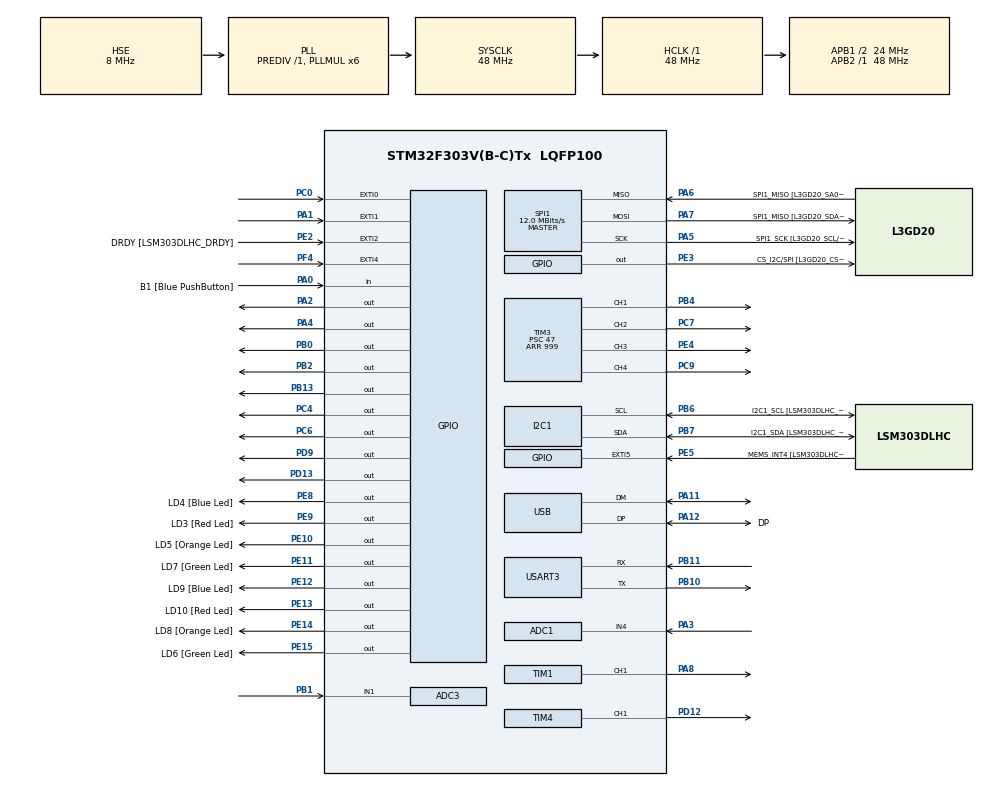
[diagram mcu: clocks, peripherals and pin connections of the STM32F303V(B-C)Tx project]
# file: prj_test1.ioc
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ADC1.Channel-0\#ChannelRegularConversion=ADC_CHANNEL_4
ADC1.NbrOfConversionFlag=1
ADC1.Offset-0\#ChannelRegularConversion=0
ADC1.OffsetNumber-0\#ChannelRegularConversion=ADC_OFFSET_NONE
ADC1.Rank-0\#ChannelRegularConversion=1
ADC1.SamplingTime-0\#ChannelRegularConversion=ADC_SAMPLETIME_601CYCLES_5
ADC1.SamplingTimeOPAMP-0\#ChannelRegularConversion=ADC_SAMPLETIME_19CYCLES_5
ADC1.master=1
ADC3.Channel-0\#ChannelRegularConversion=ADC_CHANNEL_1
ADC3.NbrOfConversionFlag=1
ADC3.Offset-0\#ChannelRegularConversion=0
ADC3.OffsetNumber-0\#ChannelRegularConversion=ADC_OFFSET_NONE
ADC3.Rank-0\#ChannelRegularConversion=1
ADC3.SamplingTime-0\#ChannelRegularConversion=ADC_SAMPLETIME_601CYCLES_5
ADC3.SamplingTimeOPAMP-0\#ChannelRegularConversion=ADC_SAMPLETIME_19CYCLES_5
ADC3.master=1
I2C1.Timing-I2C=0x2000090E
Mcu.Family=STM32F3
Mcu.Name=STM32F303V(B-C)Tx
Mcu.Package=LQFP100
NVIC.ADC1_2_IRQn=true\:1\:0\:true\:false\:true\:true\:true\:true
NVIC.ADC3_IRQn=true\:0\:0\:false\:false\:true\:true\:true\:true
NVIC.EXTI0_IRQn=true\:0\:0\:false\:false\:true\:true\:true\:true
NVIC.EXTI1_IRQn=true\:0\:0\:false\:false\:true\:true\:true\:true
NVIC.EXTI4_IRQn=true\:0\:0\:false\:false\:true\:true\:true\:true
NVIC.PriorityGroup=NVIC_PRIORITYGROUP_2
NVIC.TIM2_IRQn=true\:0\:0\:false\:false\:true\:true\:true\:true
NVIC.TIM3_IRQn=true\:0\:0\:false\:false\:true\:true\:true\:true
NVIC.USART3_IRQn=true\:0\:0\:false\:false\:true\:true\:true\:true
PA0.GPIO_Label=B1 [Blue PushButton]
PA0.Signal=GPIO_Input
PA1.GPIO_PuPd=GPIO_PULLUP
PA1.Signal=GPXTI1
PA11.Mode=Device
PA11.Signal=USB_DM
PA12.GPIO_Label=DP
PA12.Mode=Device
PA12.Signal=USB_DP
PA13.GPIO_Label=SWDIO
PA13.Mode=Serial_Wire
PA13.Signal=SYS_JTMS-SWDIO
PA14.GPIO_Label=SWCLK
PA14.Mode=Serial_Wire
PA14.Signal=SYS_JTCK-SWCLK
PA2.Signal=GPIO_Output
PA3.Mode=IN4-Single-Ended
PA3.Signal=ADC1_IN4
PA4.Signal=GPIO_Output
PA5.GPIO_Label=SPI1_SCK [L3GD20_SCL/SPC]
PA5.Mode=Full_Duplex_Master
PA5.Signal=SPI1_SCK
PA6.GPIO_Label=SPI1_MISO [L3GD20_SA0/SDO]
PA6.Mode=Full_Duplex_Master
PA6.Signal=SPI1_MISO
PA7.GPIO_Label=SPI1_MISO [L3GD20_SDA/SDI/SDO]
PA7.Mode=Full_Duplex_Master
PA7.Signal=SPI1_MOSI
PA8.Signal=S_TIM1_CH1
PB0.Signal=GPIO_Output
PB1.Mode=IN1-Single-Ended
PB1.Signal=ADC3_IN1
PB10.Mode=Asynchronous
PB10.Signal=USART3_TX
PB11.Mode=Asynchronous
PB11.Signal=USART3_RX
PB13.Signal=GPIO_Output
PB2.Signal=GPIO_Output
PB3.GPIO_Label=SWO
PB3.Signal=SYS_JTDO-TRACESWO
PB4.Signal=S_TIM3_CH1
PB6.GPIO_Label=I2C1_SCL [LSM303DLHC_SCL]
PB6.GPIO_Pu=GPIO_PULLUP
PB6.Mode=I2C
PB6.Signal=I2C1_SCL
PB7.GPIO_Label=I2C1_SDA [LSM303DLHC_SDA]
PB7.GPIO_Pu=GPIO_PULLUP
PB7.Mode=I2C
PB7.Signal=I2C1_SDA
PC0.GPIO_PuPd=GPIO_PULLUP
PC0.Signal=GPXTI0
PC14-OSC32_IN.GPIO_Label=OSC32_IN
PC14-OSC32_IN.Signal=RCC_OSC32_IN
PC15-OSC32_OUT.GPIO_Label=OSC32_OUT
PC15-OSC32_OUT.Signal=RCC_OSC32_OUT
PC4.Signal=GPIO_Output
PC6.Signal=GPIO_Output
PC7.Signal=S_TIM3_CH2
PC9.Signal=S_TIM3_CH4
PD12.Signal=S_TIM4_CH1
PD13.Signal=GPIO_Output
PD9.Signal=GPIO_Output
PE10.GPIO_Label=LD5 [Orange Led]
PE10.Signal=GPIO_Output
PE11.GPIO_Label=LD7 [Green Led]
PE11.Signal=GPIO_Output
PE12.GPIO_Label=LD9 [Blue Led]
PE12.Signal=GPIO_Output
PE13.GPIO_Label=LD10 [Red Led]
PE13.Signal=GPIO_Output
PE14.GPIO_Label=LD8 [Orange Led]
PE14.Signal=GPIO_Output
PE15.GPIO_Label=LD6 [Green Led]
PE15.Signal=GPIO_Output
PE2.GPIO_Label=DRDY [LSM303DLHC_DRDY]
PE2.GPIO_ModeDefaultEXTI=GPIO_MODE_EVT_RISING
PE2.Signal=GPXTI2
PE3.GPIO_Label=CS_I2C/SPI [L3GD20_CS_I2C/SPI]
PE3.Signal=GPIO_Output
PE4.Signal=S_TIM3_CH3
PE5.GPIO_Label=MEMS_INT4 [LSM303DLHC_INT2]
PE5.GPIO_ModeDefaultEXTI=GPIO_MODE_EVT_RISING
PE5.Signal=GPXTI5
PE8.GPIO_Label=LD4 [Blue Led]
PE8.Signal=GPIO_Output
PE9.GPIO_Label=LD3 [Red Led]
PE9.Signal=GPIO_Output
PF0-OSC_IN.GPIO_Label=OSC_IN
PF0-OSC_IN.Mode=HSE-External-Clock-Source
PF0-OSC_IN.Signal=RCC_OSC_IN
PF1-OSC_OUT.GPIO_Label=OSC_OUT
PF1-OSC_OUT.Signal=RCC_OSC_OUT
PF4.GPIO_PuPd=GPIO_PULLUP
PF4.Signal=GPXTI4
ProjectManager.HeapSize=0x200
ProjectManager.StackSize=0x400
ProjectManager.TargetToolchain=STM32CubeIDE
RCC.AHBFreq_Value=48000000
RCC.APB1CLKDivider=RCC_HCLK_DIV2
RCC.APB1Freq_Value=24000000
RCC.APB1TimFreq_Value=48000000
RCC.APB2Freq_Value=48000000
RCC.APB2TimFreq_Value=48000000
RCC.CortexFreq_Value=48000000
RCC.HCLKFreq_Value=48000000
RCC.HSE_VALUE=8000000
RCC.HSI_VALUE=8000000
RCC.LSE_VALUE=32768
RCC.PLLMUL=RCC_PLL_MUL6
RCC.SYSCLKFreq_VALUE=48000000
RCC.SYSCLKSourceVirtual=RCC_SYSCLKSOURCE_PLLCLK
RCC.USBFreq_Value=48000000
SH.S_TIM1_CH1.0=TIM1_CH1,PWM Generation1 CH1
SH.S_TIM3_CH1.0=TIM3_CH1,PWM Generation1 CH1
SH.S_TIM3_CH2.0=TIM3_CH2,PWM Generation2 CH2
SH.S_TIM3_CH3.0=TIM3_CH3,PWM Generation3 CH3
SH.S_TIM3_CH4.0=TIM3_CH4,PWM Generation4 CH4
SH.S_TIM4_CH1.0=TIM4_CH1,PWM Generation1 CH1
SPI1.BaudRatePrescaler=SPI_BAUDRATEPRESCALER_4
SPI1.BaudRatePrescaler-Full_Duplex_Master=SPI_BAUDRATEPRESCALER_2
SPI1.CalculateBaudRate=12.0 MBits/s
SPI1.CalculateBaudRate-Full_Duplex_Master=24.0 MBits/s
SPI1.Direction=SPI_DIRECTION_2LINES
SPI1.Mode=SPI_MODE_MASTER
SPI1.Mode-Full_Duplex_Master=SPI_MODE_MASTER
SPI1.VirtualType=VM_MASTER
TIM1.Channel-PWM\ Generation1\ CH1=TIM_CHANNEL_1
TIM2.Period=1000-1
TIM2.Prescaler=3000-1
TIM3.Channel-PWM\ Generation1\ CH1=TIM_CHANNEL_1
TIM3.Channel-PWM\ Generation2\ CH2=TIM_CHANNEL_2
TIM3.Channel-PWM\ Generation3\ CH3=TIM_CHANNEL_3
TIM3.Channel-PWM\ Generation4\ CH4=TIM_CHANNEL_4
TIM3.Period=999
TIM3.Prescaler=47
TIM4.Channel-PWM\ Generation1\ CH1=TIM_CHANNEL_1
TIM4.Period=999
TIM4.Prescaler=47
USART3.VirtualMode-Asynchronous=VM_ASYNC
VP_RTC_VS_RTC_Activate.Mode=RTC_Enabled
VP_TIM1_VS_ClockSourceINT.Mode=Internal
VP_TIM2_VS_ClockSourceINT.Mode=Internal
VP_TIM3_VS_ClockSourceINT.Mode=Internal
VP_TIM8_VS_ClockSourceINT.Mode=Internal
board=STM32F3DISCOVERY

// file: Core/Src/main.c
/* USER CODE BEGIN Header */
/**
  ******************************************************************************
  * @file           : main.c
  * @brief          : Main program body
  ******************************************************************************
  * @attention
  *
  * Copyright (c) 2023 STMicroelectronics.
  * All rights reserved.
  *
  * This software is licensed under terms that can be found in the LICENSE file
  * in the root directory of this software component.
  * If no LICENSE file comes with this software, it is provided AS-IS.
  *
  ******************************************************************************
  */
/* USER CODE END Header */
#include "main.h"

ADC_HandleTypeDef hadc1;
ADC_HandleTypeDef hadc3;

I2C_HandleTypeDef hi2c1;

RTC_HandleTypeDef hrtc;

SPI_HandleTypeDef hspi1;

TIM_HandleTypeDef htim1;
TIM_HandleTypeDef htim2;
TIM_HandleTypeDef htim3;
TIM_HandleTypeDef htim4;
TIM_HandleTypeDef htim8;

UART_HandleTypeDef huart3;

PCD_HandleTypeDef hpcd_USB_FS;

void SystemClock_Config(void);
static void MX_GPIO_Init(void);
static void MX_I2C1_Init(void);
static void MX_SPI1_Init(void);
static void MX_USB_PCD_Init(void);
static void MX_ADC1_Init(void);
static void MX_USART3_UART_Init(void);
static void MX_TIM2_Init(void);
static void MX_TIM3_Init(void);
static void MX_ADC3_Init(void);
static void MX_TIM1_Init(void);
static void MX_TIM8_Init(void);
static void MX_TIM4_Init(void);
static void MX_RTC_Init(void);

/* USER CODE BEGIN 0 */

//void HAL_GPIO_EXTI_Callback(uint16_t GPIO_Pin) {
//    if (GPIO_Pin == GPIO_PIN_0) {
////    	seven_segment_set_num(++seven_segment.number);
//        HAL_GPIO_TogglePin(GPIOE, GPIO_PIN_9);
//    }
//}

/* USER CODE END 0 */

int main(void)
{

  /* MCU Configuration--------------------------------------------------------*/

  /* Reset of all peripherals, Initializes the Flash interface and the Systick. */
  HAL_Init();

  /* Configure the system clock */
  SystemClock_Config();

  /* Initialize all configured peripherals */
  MX_GPIO_Init();
  MX_I2C1_Init();
  MX_SPI1_Init();
  MX_USB_PCD_Init();
  MX_ADC1_Init();
  MX_USART3_UART_Init();
  MX_TIM2_Init();
  MX_TIM3_Init();
  MX_ADC3_Init();
  MX_TIM1_Init();
  MX_TIM8_Init();
  MX_TIM4_Init();
  MX_RTC_Init();
  /* USER CODE BEGIN 2 */
  programInit();
  /* USER CODE END 2 */

  /* Infinite loop */
  /* USER CODE BEGIN WHILE */

  HAL_ADC_Start_IT(&hadc1);
  HAL_ADC_Start_IT(&hadc3);

//  HAL_UART_Transmit(&huart3,"TTT to while",12,1000);
  HAL_TIM_Base_Start_IT(&htim1);
  HAL_TIM_Base_Start_IT(&htim2);
  HAL_TIM_Base_Start_IT(&htim3);
  HAL_TIM_Base_Start_IT(&htim4);

  HAL_TIM_PWM_Start(&htim3, TIM_CHANNEL_1);
  HAL_TIM_PWM_Start(&htim3, TIM_CHANNEL_2);
  HAL_TIM_PWM_Start(&htim4, TIM_CHANNEL_1);//HAL_TIM_PWM_Start(&htim3, TIM_CHANNEL_3);
  HAL_TIM_PWM_Start(&htim3, TIM_CHANNEL_4);

  HAL_TIM_PWM_Start(&htim1, TIM_CHANNEL_1);
  uart_rx_enable_it();

// Test
//  setSegment(0,9,1);
//  setSegment(1,1,1);
//  setSegment(2,9,1);
//  setSegment(3,7,1);
//  setNumber(1110);
//	turn_on_leds();
  __HAL_RCC_RTC_ENABLE();

  set_start_time();

  while (1)
  {
    /* USER CODE END WHILE */

    /* USER CODE BEGIN 3 */

//		programLoop();

  }
  /* USER CODE END 3 */
}

void SystemClock_Config(void)
{
  RCC_OscInitTypeDef RCC_OscInitStruct = {0};
  RCC_ClkInitTypeDef RCC_ClkInitStruct = {0};
  RCC_PeriphCLKInitTypeDef PeriphClkInit = {0};

  /** Initializes the RCC Oscillators according to the specified parameters
  * in the RCC_OscInitTypeDef structure.
  */
  RCC_OscInitStruct.OscillatorType = RCC_OSCILLATORTYPE_HSI|RCC_OSCILLATORTYPE_LSI
                              |RCC_OSCILLATORTYPE_HSE;
  RCC_OscInitStruct.HSEState = RCC_HSE_BYPASS;
  RCC_OscInitStruct.HSEPredivValue = RCC_HSE_PREDIV_DIV1;
  RCC_OscInitStruct.HSIState = RCC_HSI_ON;
  RCC_OscInitStruct.HSICalibrationValue = RCC_HSICALIBRATION_DEFAULT;
  RCC_OscInitStruct.LSIState = RCC_LSI_ON;
  RCC_OscInitStruct.PLL.PLLState = RCC_PLL_ON;
  RCC_OscInitStruct.PLL.PLLSource = RCC_PLLSOURCE_HSE;
  RCC_OscInitStruct.PLL.PLLMUL = RCC_PLL_MUL6;
  if (HAL_RCC_OscConfig(&RCC_OscInitStruct) != HAL_OK)
  {
    Error_Handler();
  }

  /** Initializes the CPU, AHB and APB buses clocks
  */
  RCC_ClkInitStruct.ClockType = RCC_CLOCKTYPE_HCLK|RCC_CLOCKTYPE_SYSCLK
                              |RCC_CLOCKTYPE_PCLK1|RCC_CLOCKTYPE_PCLK2;
  RCC_ClkInitStruct.SYSCLKSource = RCC_SYSCLKSOURCE_PLLCLK;
  RCC_ClkInitStruct.AHBCLKDivider = RCC_SYSCLK_DIV1;
  RCC_ClkInitStruct.APB1CLKDivider = RCC_HCLK_DIV2;
  RCC_ClkInitStruct.APB2CLKDivider = RCC_HCLK_DIV1;

  if (HAL_RCC_ClockConfig(&RCC_ClkInitStruct, FLASH_LATENCY_1) != HAL_OK)
  {
    Error_Handler();
  }
  PeriphClkInit.PeriphClockSelection = RCC_PERIPHCLK_USB|RCC_PERIPHCLK_USART3
                              |RCC_PERIPHCLK_I2C1|RCC_PERIPHCLK_RTC
                              |RCC_PERIPHCLK_TIM1|RCC_PERIPHCLK_TIM8
                              |RCC_PERIPHCLK_ADC12|RCC_PERIPHCLK_ADC34;
  PeriphClkInit.Usart3ClockSelection = RCC_USART3CLKSOURCE_PCLK1;
  PeriphClkInit.Adc12ClockSelection = RCC_ADC12PLLCLK_DIV1;
  PeriphClkInit.Adc34ClockSelection = RCC_ADC34PLLCLK_DIV1;
  PeriphClkInit.I2c1ClockSelection = RCC_I2C1CLKSOURCE_HSI;
  PeriphClkInit.RTCClockSelection = RCC_RTCCLKSOURCE_LSI;
  PeriphClkInit.USBClockSelection = RCC_USBCLKSOURCE_PLL;
  PeriphClkInit.Tim1ClockSelection = RCC_TIM1CLK_HCLK;
  PeriphClkInit.Tim8ClockSelection = RCC_TIM8CLK_HCLK;
  if (HAL_RCCEx_PeriphCLKConfig(&PeriphClkInit) != HAL_OK)
  {
    Error_Handler();
  }
}

static void MX_ADC1_Init(void)
{

  ADC_MultiModeTypeDef multimode = {0};
  ADC_ChannelConfTypeDef sConfig = {0};

  /** Common config
  */
  hadc1.Instance = ADC1;
  hadc1.Init.ClockPrescaler = ADC_CLOCK_ASYNC_DIV1;
  hadc1.Init.Resolution = ADC_RESOLUTION_12B;
  hadc1.Init.ScanConvMode = ADC_SCAN_DISABLE;
  hadc1.Init.ContinuousConvMode = DISABLE;
  hadc1.Init.DiscontinuousConvMode = DISABLE;
  hadc1.Init.ExternalTrigConvEdge = ADC_EXTERNALTRIGCONVEDGE_NONE;
  hadc1.Init.ExternalTrigConv = ADC_SOFTWARE_START;
  hadc1.Init.DataAlign = ADC_DATAALIGN_RIGHT;
  hadc1.Init.NbrOfConversion = 1;
  hadc1.Init.DMAContinuousRequests = DISABLE;
  hadc1.Init.EOCSelection = ADC_EOC_SINGLE_CONV;
  hadc1.Init.LowPowerAutoWait = DISABLE;
  hadc1.Init.Overrun = ADC_OVR_DATA_OVERWRITTEN;
  if (HAL_ADC_Init(&hadc1) != HAL_OK)
  {
    Error_Handler();
  }

  /** Configure the ADC multi-mode
  */
  multimode.Mode = ADC_MODE_INDEPENDENT;
  if (HAL_ADCEx_MultiModeConfigChannel(&hadc1, &multimode) != HAL_OK)
  {
    Error_Handler();
  }

  /** Configure Regular Channel
  */
  sConfig.Channel = ADC_CHANNEL_4;
  sConfig.Rank = ADC_REGULAR_RANK_1;
  sConfig.SingleDiff = ADC_SINGLE_ENDED;
  sConfig.SamplingTime = ADC_SAMPLETIME_601CYCLES_5;
  sConfig.OffsetNumber = ADC_OFFSET_NONE;
  sConfig.Offset = 0;
  if (HAL_ADC_ConfigChannel(&hadc1, &sConfig) != HAL_OK)
  {
    Error_Handler();
  }

}

static void MX_ADC3_Init(void)
{

  ADC_MultiModeTypeDef multimode = {0};
  ADC_ChannelConfTypeDef sConfig = {0};

  /** Common config
  */
  hadc3.Instance = ADC3;
  hadc3.Init.ClockPrescaler = ADC_CLOCK_ASYNC_DIV1;
  hadc3.Init.Resolution = ADC_RESOLUTION_12B;
  hadc3.Init.ScanConvMode = ADC_SCAN_DISABLE;
  hadc3.Init.ContinuousConvMode = DISABLE;
  hadc3.Init.DiscontinuousConvMode = DISABLE;
  hadc3.Init.ExternalTrigConvEdge = ADC_EXTERNALTRIGCONVEDGE_NONE;
  hadc3.Init.ExternalTrigConv = ADC_SOFTWARE_START;
  hadc3.Init.DataAlign = ADC_DATAALIGN_RIGHT;
  hadc3.Init.NbrOfConversion = 1;
  hadc3.Init.DMAContinuousRequests = DISABLE;
  hadc3.Init.EOCSelection = ADC_EOC_SINGLE_CONV;
  hadc3.Init.LowPowerAutoWait = DISABLE;
  hadc3.Init.Overrun = ADC_OVR_DATA_OVERWRITTEN;
  if (HAL_ADC_Init(&hadc3) != HAL_OK)
  {
    Error_Handler();
  }

  /** Configure the ADC multi-mode
  */
  multimode.Mode = ADC_MODE_INDEPENDENT;
  if (HAL_ADCEx_MultiModeConfigChannel(&hadc3, &multimode) != HAL_OK)
  {
    Error_Handler();
  }

  /** Configure Regular Channel
  */
  sConfig.Channel = ADC_CHANNEL_1;
  sConfig.Rank = ADC_REGULAR_RANK_1;
  sConfig.SingleDiff = ADC_SINGLE_ENDED;
  sConfig.SamplingTime = ADC_SAMPLETIME_601CYCLES_5;
  sConfig.OffsetNumber = ADC_OFFSET_NONE;
  sConfig.Offset = 0;
  if (HAL_ADC_ConfigChannel(&hadc3, &sConfig) != HAL_OK)
  {
    Error_Handler();
  }

}

static void MX_I2C1_Init(void)
{

  hi2c1.Instance = I2C1;
  hi2c1.Init.Timing = 0x2000090E;
  hi2c1.Init.OwnAddress1 = 0;
  hi2c1.Init.AddressingMode = I2C_ADDRESSINGMODE_7BIT;
  hi2c1.Init.DualAddressMode = I2C_DUALADDRESS_DISABLE;
  hi2c1.Init.OwnAddress2 = 0;
  hi2c1.Init.OwnAddress2Masks = I2C_OA2_NOMASK;
  hi2c1.Init.GeneralCallMode = I2C_GENERALCALL_DISABLE;
  hi2c1.Init.NoStretchMode = I2C_NOSTRETCH_DISABLE;
  if (HAL_I2C_Init(&hi2c1) != HAL_OK)
  {
    Error_Handler();
  }

  /** Configure Analogue filter
  */
  if (HAL_I2CEx_ConfigAnalogFilter(&hi2c1, I2C_ANALOGFILTER_ENABLE) != HAL_OK)
  {
    Error_Handler();
  }

  /** Configure Digital filter
  */
  if (HAL_I2CEx_ConfigDigitalFilter(&hi2c1, 0) != HAL_OK)
  {
    Error_Handler();
  }

}

static void MX_RTC_Init(void)
{

  /** Initialize RTC Only
  */
  hrtc.Instance = RTC;
  hrtc.Init.HourFormat = RTC_HOURFORMAT_24;
  hrtc.Init.AsynchPrediv = 127;
  hrtc.Init.SynchPrediv = 255;
  hrtc.Init.OutPut = RTC_OUTPUT_DISABLE;
  hrtc.Init.OutPutPolarity = RTC_OUTPUT_POLARITY_HIGH;
  hrtc.Init.OutPutType = RTC_OUTPUT_TYPE_OPENDRAIN;
  if (HAL_RTC_Init(&hrtc) != HAL_OK)
  {
    Error_Handler();
  }

}

static void MX_SPI1_Init(void)
{

  /* SPI1 parameter configuration*/
  hspi1.Instance = SPI1;
  hspi1.Init.Mode = SPI_MODE_MASTER;
  hspi1.Init.Direction = SPI_DIRECTION_2LINES;
  hspi1.Init.DataSize = SPI_DATASIZE_4BIT;
  hspi1.Init.CLKPolarity = SPI_POLARITY_LOW;
  hspi1.Init.CLKPhase = SPI_PHASE_1EDGE;
  hspi1.Init.NSS = SPI_NSS_SOFT;
  hspi1.Init.BaudRatePrescaler = SPI_BAUDRATEPRESCALER_4;
  hspi1.Init.FirstBit = SPI_FIRSTBIT_MSB;
  hspi1.Init.TIMode = SPI_TIMODE_DISABLE;
  hspi1.Init.CRCCalculation = SPI_CRCCALCULATION_DISABLE;
  hspi1.Init.CRCPolynomial = 7;
  hspi1.Init.CRCLength = SPI_CRC_LENGTH_DATASIZE;
  hspi1.Init.NSSPMode = SPI_NSS_PULSE_ENABLE;
  if (HAL_SPI_Init(&hspi1) != HAL_OK)
  {
    Error_Handler();
  }

}

static void MX_TIM1_Init(void)
{

  TIM_ClockConfigTypeDef sClockSourceConfig = {0};
  TIM_MasterConfigTypeDef sMasterConfig = {0};
  TIM_OC_InitTypeDef sConfigOC = {0};
  TIM_BreakDeadTimeConfigTypeDef sBreakDeadTimeConfig = {0};

  htim1.Instance = TIM1;
  htim1.Init.Prescaler = 0;
  htim1.Init.CounterMode = TIM_COUNTERMODE_UP;
  htim1.Init.Period = 65535;
  htim1.Init.ClockDivision = TIM_CLOCKDIVISION_DIV1;
  htim1.Init.RepetitionCounter = 0;
  htim1.Init.AutoReloadPreload = TIM_AUTORELOAD_PRELOAD_DISABLE;
  if (HAL_TIM_Base_Init(&htim1) != HAL_OK)
  {
    Error_Handler();
  }
  sClockSourceConfig.ClockSource = TIM_CLOCKSOURCE_INTERNAL;
  if (HAL_TIM_ConfigClockSource(&htim1, &sClockSourceConfig) != HAL_OK)
  {
    Error_Handler();
  }
  if (HAL_TIM_PWM_Init(&htim1) != HAL_OK)
  {
    Error_Handler();
  }
  sMasterConfig.MasterOutputTrigger = TIM_TRGO_RESET;
  sMasterConfig.MasterOutputTrigger2 = TIM_TRGO2_RESET;
  sMasterConfig.MasterSlaveMode = TIM_MASTERSLAVEMODE_DISABLE;
  if (HAL_TIMEx_MasterConfigSynchronization(&htim1, &sMasterConfig) != HAL_OK)
  {
    Error_Handler();
  }
  sConfigOC.OCMode = TIM_OCMODE_PWM1;
  sConfigOC.Pulse = 0;
  sConfigOC.OCPolarity = TIM_OCPOLARITY_HIGH;
  sConfigOC.OCNPolarity = TIM_OCNPOLARITY_HIGH;
  sConfigOC.OCFastMode = TIM_OCFAST_DISABLE;
  sConfigOC.OCIdleState = TIM_OCIDLESTATE_RESET;
  sConfigOC.OCNIdleState = TIM_OCNIDLESTATE_RESET;
  if (HAL_TIM_PWM_ConfigChannel(&htim1, &sConfigOC, TIM_CHANNEL_1) != HAL_OK)
  {
    Error_Handler();
  }
  sBreakDeadTimeConfig.OffStateRunMode = TIM_OSSR_DISABLE;
  sBreakDeadTimeConfig.OffStateIDLEMode = TIM_OSSI_DISABLE;
  sBreakDeadTimeConfig.LockLevel = TIM_LOCKLEVEL_OFF;
  sBreakDeadTimeConfig.DeadTime = 0;
  sBreakDeadTimeConfig.BreakState = TIM_BREAK_DISABLE;
  sBreakDeadTimeConfig.BreakPolarity = TIM_BREAKPOLARITY_HIGH;
  sBreakDeadTimeConfig.BreakFilter = 0;
  sBreakDeadTimeConfig.Break2State = TIM_BREAK2_DISABLE;
  sBreakDeadTimeConfig.Break2Polarity = TIM_BREAK2POLARITY_HIGH;
  sBreakDeadTimeConfig.Break2Filter = 0;
  sBreakDeadTimeConfig.AutomaticOutput = TIM_AUTOMATICOUTPUT_DISABLE;
  if (HAL_TIMEx_ConfigBreakDeadTime(&htim1, &sBreakDeadTimeConfig) != HAL_OK)
  {
    Error_Handler();
  }
  HAL_TIM_MspPostInit(&htim1);

}

static void MX_TIM2_Init(void)
{

  TIM_ClockConfigTypeDef sClockSourceConfig = {0};
  TIM_MasterConfigTypeDef sMasterConfig = {0};

  htim2.Instance = TIM2;
  htim2.Init.Prescaler = 3000-1;
  htim2.Init.CounterMode = TIM_COUNTERMODE_UP;
  htim2.Init.Period = 1000-1;
  htim2.Init.ClockDivision = TIM_CLOCKDIVISION_DIV1;
  htim2.Init.AutoReloadPreload = TIM_AUTORELOAD_PRELOAD_DISABLE;
  if (HAL_TIM_Base_Init(&htim2) != HAL_OK)
  {
    Error_Handler();
  }
  sClockSourceConfig.ClockSource = TIM_CLOCKSOURCE_INTERNAL;
  if (HAL_TIM_ConfigClockSource(&htim2, &sClockSourceConfig) != HAL_OK)
  {
    Error_Handler();
  }
  sMasterConfig.MasterOutputTrigger = TIM_TRGO_RESET;
  sMasterConfig.MasterSlaveMode = TIM_MASTERSLAVEMODE_DISABLE;
  if (HAL_TIMEx_MasterConfigSynchronization(&htim2, &sMasterConfig) != HAL_OK)
  {
    Error_Handler();
  }

}

static void MX_TIM3_Init(void)
{

  TIM_ClockConfigTypeDef sClockSourceConfig = {0};
  TIM_MasterConfigTypeDef sMasterConfig = {0};
  TIM_OC_InitTypeDef sConfigOC = {0};

  htim3.Instance = TIM3;
  htim3.Init.Prescaler = 47;
  htim3.Init.CounterMode = TIM_COUNTERMODE_UP;
  htim3.Init.Period = 999;
  htim3.Init.ClockDivision = TIM_CLOCKDIVISION_DIV1;
  htim3.Init.AutoReloadPreload = TIM_AUTORELOAD_PRELOAD_DISABLE;
  if (HAL_TIM_Base_Init(&htim3) != HAL_OK)
  {
    Error_Handler();
  }
  sClockSourceConfig.ClockSource = TIM_CLOCKSOURCE_INTERNAL;
  if (HAL_TIM_ConfigClockSource(&htim3, &sClockSourceConfig) != HAL_OK)
  {
    Error_Handler();
  }
  if (HAL_TIM_PWM_Init(&htim3) != HAL_OK)
  {
    Error_Handler();
  }
  sMasterConfig.MasterOutputTrigger = TIM_TRGO_RESET;
  sMasterConfig.MasterSlaveMode = TIM_MASTERSLAVEMODE_DISABLE;
  if (HAL_TIMEx_MasterConfigSynchronization(&htim3, &sMasterConfig) != HAL_OK)
  {
    Error_Handler();
  }
  sConfigOC.OCMode = TIM_OCMODE_PWM1;
  sConfigOC.Pulse = 0;
  sConfigOC.OCPolarity = TIM_OCPOLARITY_HIGH;
  sConfigOC.OCFastMode = TIM_OCFAST_DISABLE;
  if (HAL_TIM_PWM_ConfigChannel(&htim3, &sConfigOC, TIM_CHANNEL_1) != HAL_OK)
  {
    Error_Handler();
  }
  if (HAL_TIM_PWM_ConfigChannel(&htim3, &sConfigOC, TIM_CHANNEL_2) != HAL_OK)
  {
    Error_Handler();
  }
  if (HAL_TIM_PWM_ConfigChannel(&htim3, &sConfigOC, TIM_CHANNEL_3) != HAL_OK)
  {
    Error_Handler();
  }
  if (HAL_TIM_PWM_ConfigChannel(&htim3, &sConfigOC, TIM_CHANNEL_4) != HAL_OK)
  {
    Error_Handler();
  }
  HAL_TIM_MspPostInit(&htim3);

}

static void MX_TIM4_Init(void)
{

  TIM_MasterConfigTypeDef sMasterConfig = {0};
  TIM_OC_InitTypeDef sConfigOC = {0};

  htim4.Instance = TIM4;
  htim4.Init.Prescaler = 47;
  htim4.Init.CounterMode = TIM_COUNTERMODE_UP;
  htim4.Init.Period = 999;
  htim4.Init.ClockDivision = TIM_CLOCKDIVISION_DIV1;
  htim4.Init.AutoReloadPreload = TIM_AUTORELOAD_PRELOAD_DISABLE;
  if (HAL_TIM_PWM_Init(&htim4) != HAL_OK)
  {
    Error_Handler();
  }
  sMasterConfig.MasterOutputTrigger = TIM_TRGO_RESET;
  sMasterConfig.MasterSlaveMode = TIM_MASTERSLAVEMODE_DISABLE;
  if (HAL_TIMEx_MasterConfigSynchronization(&htim4, &sMasterConfig) != HAL_OK)
  {
    Error_Handler();
  }
  sConfigOC.OCMode = TIM_OCMODE_PWM1;
  sConfigOC.Pulse = 0;
  sConfigOC.OCPolarity = TIM_OCPOLARITY_HIGH;
  sConfigOC.OCFastMode = TIM_OCFAST_DISABLE;
  if (HAL_TIM_PWM_ConfigChannel(&htim4, &sConfigOC, TIM_CHANNEL_1) != HAL_OK)
  {
    Error_Handler();
  }
  HAL_TIM_MspPostInit(&htim4);

}

static void MX_TIM8_Init(void)
{

  TIM_ClockConfigTypeDef sClockSourceConfig = {0};
  TIM_MasterConfigTypeDef sMasterConfig = {0};

  htim8.Instance = TIM8;
  htim8.Init.Prescaler = 0;
  htim8.Init.CounterMode = TIM_COUNTERMODE_UP;
  htim8.Init.Period = 65535;
  htim8.Init.ClockDivision = TIM_CLOCKDIVISION_DIV1;
  htim8.Init.RepetitionCounter = 0;
  htim8.Init.AutoReloadPreload = TIM_AUTORELOAD_PRELOAD_DISABLE;
  if (HAL_TIM_Base_Init(&htim8) != HAL_OK)
  {
    Error_Handler();
  }
  sClockSourceConfig.ClockSource = TIM_CLOCKSOURCE_INTERNAL;
  if (HAL_TIM_ConfigClockSource(&htim8, &sClockSourceConfig) != HAL_OK)
  {
    Error_Handler();
  }
  sMasterConfig.MasterOutputTrigger = TIM_TRGO_RESET;
  sMasterConfig.MasterOutputTrigger2 = TIM_TRGO2_RESET;
  sMasterConfig.MasterSlaveMode = TIM_MASTERSLAVEMODE_DISABLE;
  if (HAL_TIMEx_MasterConfigSynchronization(&htim8, &sMasterConfig) != HAL_OK)
  {
    Error_Handler();
  }

}

static void MX_USART3_UART_Init(void)
{

  huart3.Instance = USART3;
  huart3.Init.BaudRate = 38400;
  huart3.Init.WordLength = UART_WORDLENGTH_8B;
  huart3.Init.StopBits = UART_STOPBITS_1;
  huart3.Init.Parity = UART_PARITY_NONE;
  huart3.Init.Mode = UART_MODE_TX_RX;
  huart3.Init.HwFlowCtl = UART_HWCONTROL_NONE;
  huart3.Init.OverSampling = UART_OVERSAMPLING_16;
  huart3.Init.OneBitSampling = UART_ONE_BIT_SAMPLE_DISABLE;
  huart3.AdvancedInit.AdvFeatureInit = UART_ADVFEATURE_NO_INIT;
  if (HAL_UART_Init(&huart3) != HAL_OK)
  {
    Error_Handler();
  }

}

static void MX_USB_PCD_Init(void)
{

  hpcd_USB_FS.Instance = USB;
  hpcd_USB_FS.Init.dev_endpoints = 8;
  hpcd_USB_FS.Init.speed = PCD_SPEED_FULL;
  hpcd_USB_FS.Init.phy_itface = PCD_PHY_EMBEDDED;
  hpcd_USB_FS.Init.low_power_enable = DISABLE;
  hpcd_USB_FS.Init.battery_charging_enable = DISABLE;
  if (HAL_PCD_Init(&hpcd_USB_FS) != HAL_OK)
  {
    Error_Handler();
  }

}

static void MX_GPIO_Init(void)
{
  GPIO_InitTypeDef GPIO_InitStruct = {0};

  /* GPIO Ports Clock Enable */
  __HAL_RCC_GPIOE_CLK_ENABLE();
  __HAL_RCC_GPIOC_CLK_ENABLE();
  __HAL_RCC_GPIOF_CLK_ENABLE();
  __HAL_RCC_GPIOA_CLK_ENABLE();
  __HAL_RCC_GPIOB_CLK_ENABLE();
  __HAL_RCC_GPIOD_CLK_ENABLE();

  /*Configure GPIO pin Output Level */
  HAL_GPIO_WritePin(GPIOE, CS_I2C_SPI_Pin|LD4_Pin|LD3_Pin|LD5_Pin
                          |LD7_Pin|LD9_Pin|LD10_Pin|LD8_Pin
                          |LD6_Pin, GPIO_PIN_RESET);

  /*Configure GPIO pin Output Level */
  HAL_GPIO_WritePin(GPIOA, GPIO_PIN_2|GPIO_PIN_4, GPIO_PIN_RESET);

  /*Configure GPIO pin Output Level */
  HAL_GPIO_WritePin(GPIOC, GPIO_PIN_4|GPIO_PIN_6, GPIO_PIN_RESET);

  /*Configure GPIO pin Output Level */
  HAL_GPIO_WritePin(GPIOB, GPIO_PIN_0|GPIO_PIN_2|GPIO_PIN_13, GPIO_PIN_RESET);

  /*Configure GPIO pin Output Level */
  HAL_GPIO_WritePin(GPIOD, GPIO_PIN_9|GPIO_PIN_13, GPIO_PIN_RESET);

  /*Configure GPIO pins : DRDY_Pin MEMS_INT4_Pin */
  GPIO_InitStruct.Pin = DRDY_Pin|MEMS_INT4_Pin;
  GPIO_InitStruct.Mode = GPIO_MODE_EVT_RISING;
  GPIO_InitStruct.Pull = GPIO_NOPULL;
  HAL_GPIO_Init(GPIOE, &GPIO_InitStruct);

  /*Configure GPIO pins : CS_I2C_SPI_Pin LD4_Pin LD3_Pin LD5_Pin
                           LD7_Pin LD9_Pin LD10_Pin LD8_Pin
                           LD6_Pin */
  GPIO_InitStruct.Pin = CS_I2C_SPI_Pin|LD4_Pin|LD3_Pin|LD5_Pin
                          |LD7_Pin|LD9_Pin|LD10_Pin|LD8_Pin
                          |LD6_Pin;
  GPIO_InitStruct.Mode = GPIO_MODE_OUTPUT_PP;
  GPIO_InitStruct.Pull = GPIO_NOPULL;
  GPIO_InitStruct.Speed = GPIO_SPEED_FREQ_LOW;
  HAL_GPIO_Init(GPIOE, &GPIO_InitStruct);

  /*Configure GPIO pin : PC0 */
  GPIO_InitStruct.Pin = GPIO_PIN_0;
  GPIO_InitStruct.Mode = GPIO_MODE_IT_RISING;
  GPIO_InitStruct.Pull = GPIO_PULLUP;
  HAL_GPIO_Init(GPIOC, &GPIO_InitStruct);

  /*Configure GPIO pin : B1_Pin */
  GPIO_InitStruct.Pin = B1_Pin;
  GPIO_InitStruct.Mode = GPIO_MODE_INPUT;
  GPIO_InitStruct.Pull = GPIO_NOPULL;
  HAL_GPIO_Init(B1_GPIO_Port, &GPIO_InitStruct);

  /*Configure GPIO pin : PA1 */
  GPIO_InitStruct.Pin = GPIO_PIN_1;
  GPIO_InitStruct.Mode = GPIO_MODE_IT_RISING;
  GPIO_InitStruct.Pull = GPIO_PULLUP;
  HAL_GPIO_Init(GPIOA, &GPIO_InitStruct);

  /*Configure GPIO pins : PA2 PA4 */
  GPIO_InitStruct.Pin = GPIO_PIN_2|GPIO_PIN_4;
  GPIO_InitStruct.Mode = GPIO_MODE_OUTPUT_PP;
  GPIO_InitStruct.Pull = GPIO_NOPULL;
  GPIO_InitStruct.Speed = GPIO_SPEED_FREQ_LOW;
  HAL_GPIO_Init(GPIOA, &GPIO_InitStruct);

  /*Configure GPIO pin : PF4 */
  GPIO_InitStruct.Pin = GPIO_PIN_4;
  GPIO_InitStruct.Mode = GPIO_MODE_IT_RISING;
  GPIO_InitStruct.Pull = GPIO_PULLUP;
  HAL_GPIO_Init(GPIOF, &GPIO_InitStruct);

  /*Configure GPIO pins : PC4 PC6 */
  GPIO_InitStruct.Pin = GPIO_PIN_4|GPIO_PIN_6;
  GPIO_InitStruct.Mode = GPIO_MODE_OUTPUT_PP;
  GPIO_InitStruct.Pull = GPIO_NOPULL;
  GPIO_InitStruct.Speed = GPIO_SPEED_FREQ_LOW;
  HAL_GPIO_Init(GPIOC, &GPIO_InitStruct);

  /*Configure GPIO pins : PB0 PB2 PB13 */
  GPIO_InitStruct.Pin = GPIO_PIN_0|GPIO_PIN_2|GPIO_PIN_13;
  GPIO_InitStruct.Mode = GPIO_MODE_OUTPUT_PP;
  GPIO_InitStruct.Pull = GPIO_NOPULL;
  GPIO_InitStruct.Speed = GPIO_SPEED_FREQ_LOW;
  HAL_GPIO_Init(GPIOB, &GPIO_InitStruct);

  /*Configure GPIO pins : PD9 PD13 */
  GPIO_InitStruct.Pin = GPIO_PIN_9|GPIO_PIN_13;
  GPIO_InitStruct.Mode = GPIO_MODE_OUTPUT_PP;
  GPIO_InitStruct.Pull = GPIO_NOPULL;
  GPIO_InitStruct.Speed = GPIO_SPEED_FREQ_LOW;
  HAL_GPIO_Init(GPIOD, &GPIO_InitStruct);

  /* EXTI interrupt init*/
  HAL_NVIC_SetPriority(EXTI0_IRQn, 0, 0);
  HAL_NVIC_EnableIRQ(EXTI0_IRQn);

  HAL_NVIC_SetPriority(EXTI1_IRQn, 0, 0);
  HAL_NVIC_EnableIRQ(EXTI1_IRQn);

  HAL_NVIC_SetPriority(EXTI4_IRQn, 0, 0);
  HAL_NVIC_EnableIRQ(EXTI4_IRQn);

}

void Error_Handler(void)
{
  __disable_irq();
  while (1)
  {
  }
}
